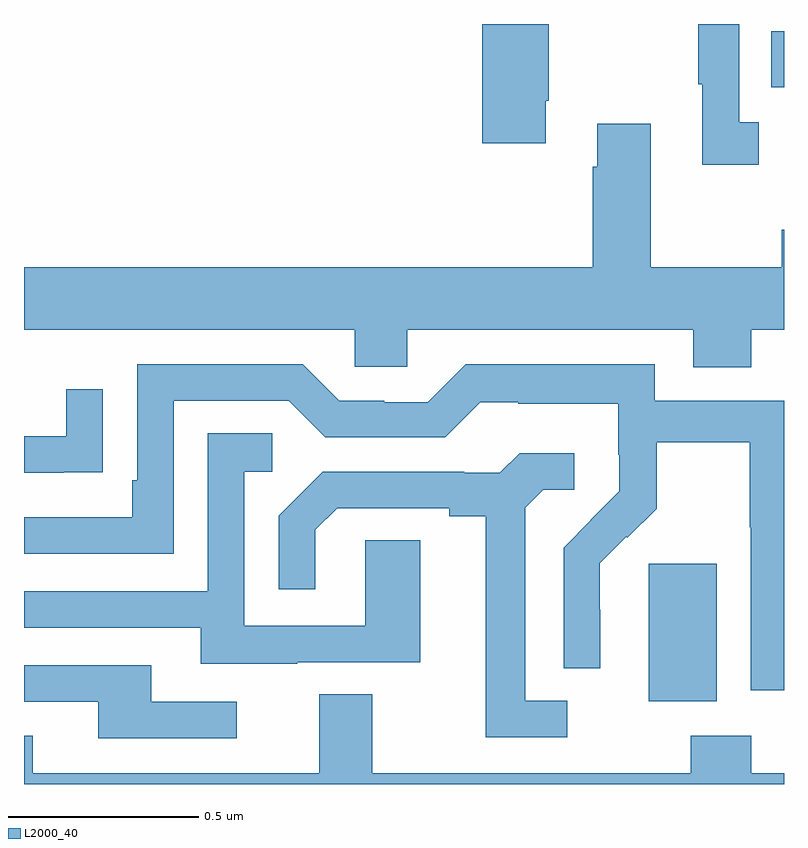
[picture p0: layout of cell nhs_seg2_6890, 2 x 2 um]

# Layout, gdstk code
import gdstk
lib = gdstk.Library(unit=1e-6, precision=1e-09)
def R(c, l, rs):  # rectangles x0, y0, x1, y1
    for r in rs: c.add(gdstk.rectangle(r[:2], r[2:], *l))
def P(c, l, *ps):  # polygons
    for p in ps: c.add(gdstk.Polygon(p, *l))
L2000_40 = (2000, 40)

nhs_seg2_6890 = lib.new_cell('nhs_seg2_6890')
R(nhs_seg2_6890, L2000_40, [(198.644,620.018,198.823,620.379), (198.967,621.634,199,621.781)])
P(nhs_seg2_6890, L2000_40, [(198.934,621.542),(198.882,621.542),(198.882,621.8),(198.774,621.8),(198.774,621.641),(198.785,621.641),(198.785,621.429),(198.934,621.429)],
  [(198.373,621.598),(198.381,621.598),(198.381,621.8),(198.206,621.8),(198.206,621.486),(198.373,621.486)],
  [(198.914,620.996),(199,620.996),(199,621.259),(198.994,621.259),(198.994,621.16),(198.649,621.16),(198.649,621.538),(198.509,621.538),(198.509,621.425),(198.497,621.425),(198.497,621.16),(197,621.16),(197,620.996),(197.871,620.996),(197.871,620.898),(198.009,620.898),(198.009,620.996),(198.761,620.996),(198.761,620.897),(198.914,620.897)],
  [(199,620.808),(198.66,620.808),(198.66,620.905),(198.163,620.905),(198.063,620.805),(197.948,620.805),(197.948,620.808),(197.829,620.808),(197.733,620.904),(197.298,620.904),(197.298,620.599),(197.285,620.599),(197.285,620.502),(197,620.502),(197,620.406),(197.394,620.406),(197.394,620.808),(197.697,620.808),(197.793,620.712),(198.108,620.712),(198.201,620.805),(198.301,620.805),(198.301,620.801),(198.564,620.801),(198.564,620.667),(198.566,620.667),(198.566,620.57),(198.492,620.496),(198.493,620.495),(198.42,620.422),(198.42,620.104),(198.516,620.104),(198.516,620.258),(198.515,620.258),(198.515,620.381),(198.585,620.451),(198.588,620.448),(198.665,620.525),(198.665,620.7),(198.91,620.7),(198.91,620.476),(198.912,620.476),(198.912,620.047),(199,620.047)],
  [(197.105,620.62),(197.207,620.62),(197.207,620.839),(197.111,620.839),(197.111,620.715),(197,620.715),(197,620.619),(197.105,620.619)],
  [(197.719,620.121),(198.043,620.121),(198.043,620.441),(197.898,620.441),(197.898,620.217),(197.58,620.217),(197.58,620.622),(197.653,620.622),(197.653,620.723),(197.484,620.723),(197.484,620.307),(197,620.307),(197,620.211),(197.465,620.211),(197.465,620.117),(197.719,620.117)],
  [(198.43,620.019),(198.319,620.019),(198.319,620.527),(198.366,620.574),(198.448,620.574),(198.448,620.671),(198.304,620.671),(198.252,620.619),(198.158,620.619),(198.158,620.622),(197.786,620.622),(197.67,620.506),(197.67,620.313),(197.767,620.313),(197.767,620.469),(197.824,620.526),(198.119,620.526),(198.119,620.504),(198.215,620.504),(198.215,619.923),(198.43,619.923)],
  [(197.56,620.016),(197.335,620.016),(197.335,620.112),(197,620.112),(197,620.016),(197.195,620.016),(197.195,619.92),(197.56,619.92)],
  [(199,619.828),(198.914,619.828),(198.914,619.927),(198.754,619.927),(198.754,619.828),(197.917,619.828),(197.917,620.036),(197.777,620.036),(197.777,619.828),(197.023,619.828),(197.023,619.927),(197,619.927),(197,619.8),(199,619.8)])

lib.write_gds('nhs_seg2_6890.gds')
